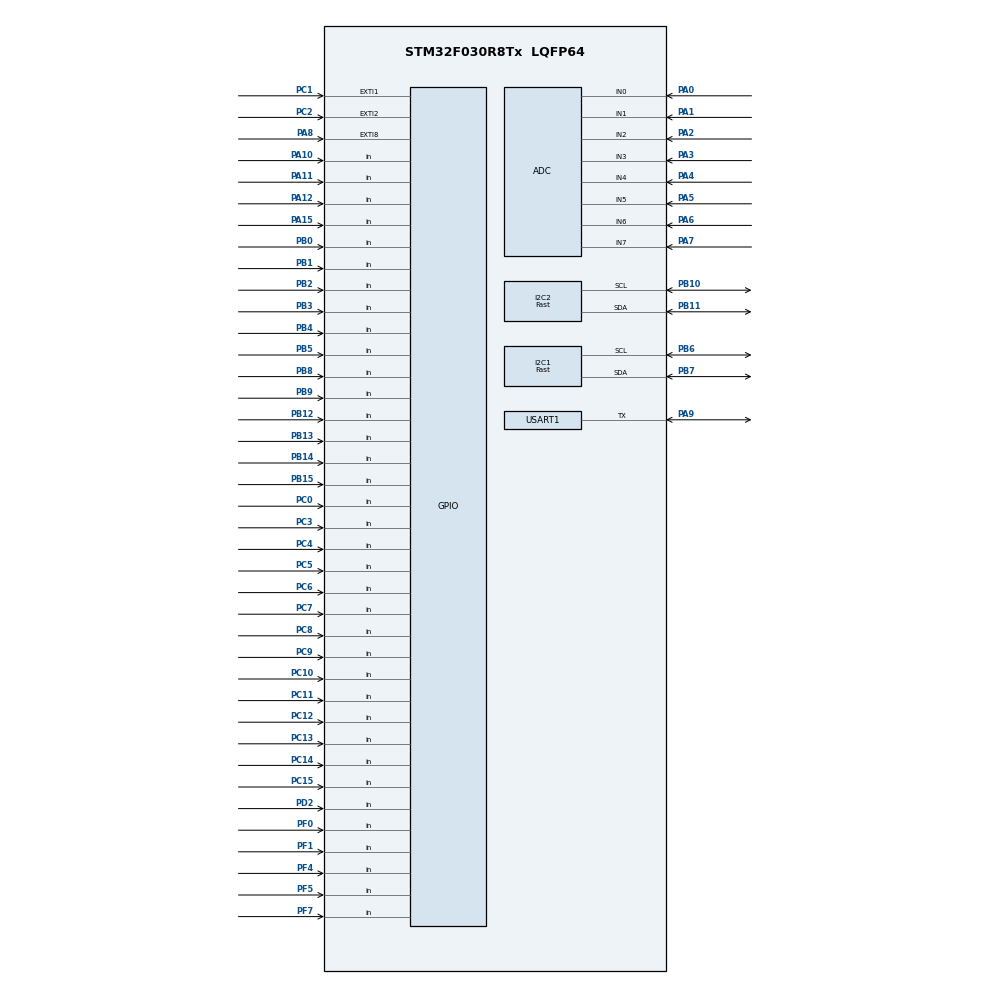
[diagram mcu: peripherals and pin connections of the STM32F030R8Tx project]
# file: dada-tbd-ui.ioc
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ADC.EOCSelection=ADC_EOC_SEQ_CONV
ADC.SamplingTime=ADC_SAMPLETIME_55CYCLES_5
Dma.ADC.0.Direction=DMA_PERIPH_TO_MEMORY
Dma.ADC.0.Instance=DMA1_Channel1
Dma.ADC.0.MemDataAlignment=DMA_MDATAALIGN_HALFWORD
Dma.ADC.0.MemInc=DMA_MINC_ENABLE
Dma.ADC.0.Mode=DMA_NORMAL
Dma.ADC.0.PeriphDataAlignment=DMA_PDATAALIGN_HALFWORD
Dma.ADC.0.PeriphInc=DMA_PINC_DISABLE
Dma.ADC.0.Priority=DMA_PRIORITY_LOW
Dma.Request0=ADC
I2C1.I2C_Speed_Mode=I2C_Fast
I2C1.Timing=0x0010020A
I2C2.I2C_Speed_Mode=I2C_Fast
I2C2.OwnAddress=0x42
I2C2.Timing=0x0010020A
Mcu.Family=STM32F0
Mcu.Name=STM32F030R8Tx
Mcu.Package=LQFP64
NVIC.DMA1_Channel1_IRQn=true\:0\:0\:false\:false\:true\:false\:true\:true
NVIC.EXTI0_1_IRQn=true\:0\:0\:false\:false\:true\:true\:true\:true
NVIC.EXTI2_3_IRQn=true\:0\:0\:false\:false\:true\:true\:true\:true
NVIC.EXTI4_15_IRQn=true\:0\:0\:false\:false\:true\:true\:true\:true
NVIC.I2C2_IRQn=true\:0\:0\:false\:false\:true\:true\:true\:true
PA0.Mode=IN0
PA0.Signal=ADC_IN0
PA1.Mode=IN1
PA1.Signal=ADC_IN1
PA10.GPIO_PuPd=GPIO_PULLUP
PA10.Signal=GPIO_Input
PA11.GPIO_PuPd=GPIO_PULLUP
PA11.Signal=GPIO_Input
PA12.GPIO_PuPd=GPIO_PULLUP
PA12.Signal=GPIO_Input
PA13.Mode=Serial_Wire
PA13.Signal=SYS_SWDIO
PA14.Mode=Serial_Wire
PA14.Signal=SYS_SWCLK
PA15.GPIO_PuPd=GPIO_PULLUP
PA15.Signal=GPIO_Input
PA2.Mode=IN2
PA2.Signal=ADC_IN2
PA3.Mode=IN3
PA3.Signal=ADC_IN3
PA4.Mode=IN4
PA4.Signal=ADC_IN4
PA5.Mode=IN5
PA5.Signal=ADC_IN5
PA6.Mode=IN6
PA6.Signal=ADC_IN6
PA7.Mode=IN7
PA7.Signal=ADC_IN7
PA8.GPIO_PuPd=GPIO_NOPULL
PA8.Signal=GPXTI8
PA9.Mode=Half_duplex(single_wire_mode)
PA9.Signal=USART1_TX
PB0.GPIO_PuPd=GPIO_PULLUP
PB0.Signal=GPIO_Input
PB1.GPIO_PuPd=GPIO_PULLUP
PB1.Signal=GPIO_Input
PB10.Mode=I2C
PB10.Signal=I2C2_SCL
PB11.Mode=I2C
PB11.Signal=I2C2_SDA
PB12.GPIO_PuPd=GPIO_PULLUP
PB12.Signal=GPIO_Input
PB13.GPIO_PuPd=GPIO_PULLUP
PB13.Signal=GPIO_Input
PB14.GPIO_PuPd=GPIO_PULLUP
PB14.Signal=GPIO_Input
PB15.GPIO_PuPd=GPIO_PULLUP
PB15.Signal=GPIO_Input
PB2.GPIO_PuPd=GPIO_PULLUP
PB2.Signal=GPIO_Input
PB3.GPIO_PuPd=GPIO_PULLUP
PB3.Signal=GPIO_Input
PB4.GPIO_PuPd=GPIO_PULLUP
PB4.Signal=GPIO_Input
PB5.GPIO_PuPd=GPIO_PULLUP
PB5.Signal=GPIO_Input
PB6.Mode=I2C
PB6.Signal=I2C1_SCL
PB7.Mode=I2C
PB7.Signal=I2C1_SDA
PB8.GPIO_PuPd=GPIO_PULLUP
PB8.Signal=GPIO_Input
PB9.GPIO_PuPd=GPIO_PULLUP
PB9.Signal=GPIO_Input
PC0.GPIO_PuPd=GPIO_PULLUP
PC0.Signal=GPIO_Input
PC1.GPIO_PuPd=GPIO_PULLUP
PC1.Signal=GPXTI1
PC10.GPIO_PuPd=GPIO_PULLUP
PC10.Signal=GPIO_Input
PC11.GPIO_PuPd=GPIO_PULLUP
PC11.Signal=GPIO_Input
PC12.GPIO_PuPd=GPIO_PULLUP
PC12.Signal=GPIO_Input
PC13.GPIO_PuPd=GPIO_PULLUP
PC13.Signal=GPIO_Input
PC14-OSC32_IN.GPIO_PuPd=GPIO_PULLUP
PC14-OSC32_IN.Signal=GPIO_Input
PC15-OSC32_OUT.GPIO_PuPd=GPIO_PULLUP
PC15-OSC32_OUT.Signal=GPIO_Input
PC2.GPIO_PuPd=GPIO_PULLUP
PC2.Signal=GPXTI2
PC3.GPIO_PuPd=GPIO_PULLUP
PC3.Signal=GPIO_Input
PC4.GPIO_PuPd=GPIO_PULLUP
PC4.Signal=GPIO_Input
PC5.GPIO_PuPd=GPIO_PULLUP
PC5.Signal=GPIO_Input
PC6.GPIO_PuPd=GPIO_PULLUP
PC6.Signal=GPIO_Input
PC7.GPIO_PuPd=GPIO_PULLUP
PC7.Signal=GPIO_Input
PC8.GPIO_PuPd=GPIO_PULLUP
PC8.Signal=GPIO_Input
PC9.GPIO_PuPd=GPIO_PULLUP
PC9.Signal=GPIO_Input
PD2.GPIO_PuPd=GPIO_PULLUP
PD2.Signal=GPIO_Input
PF0-OSC_IN.GPIO_PuPd=GPIO_PULLUP
PF0-OSC_IN.Signal=GPIO_Input
PF1-OSC_OUT.GPIO_PuPd=GPIO_PULLUP
PF1-OSC_OUT.Signal=GPIO_Input
PF4.GPIO_PuPd=GPIO_PULLUP
PF4.Signal=GPIO_Input
PF5.GPIO_PuPd=GPIO_PULLUP
PF5.Signal=GPIO_Input
PF7.GPIO_PuPd=GPIO_PULLUP
PF7.Signal=GPIO_Input
ProjectManager.HeapSize=0x200
ProjectManager.StackSize=0x400
ProjectManager.TargetToolchain=CMake
RCC.PLLMUL=RCC_PLL_MUL12
USART1.VirtualMode-Half_duplex(single_wire_mode)=VM_ASYNC
board=custom

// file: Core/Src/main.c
/* USER CODE BEGIN Header */
/**
  ******************************************************************************
  * @file           : main.c
  * @brief          : Main program body
  ******************************************************************************
  * @attention
  *
  * Copyright (c) 2024 STMicroelectronics.
  * All rights reserved.
  *
  * This software is licensed under terms that can be found in the LICENSE file
  * in the root directory of this software component.
  * If no LICENSE file comes with this software, it is provided AS-IS.
  *
  ******************************************************************************
  */
/* USER CODE END Header */
#include "main.h"
#include "adc.h"
#include "dma.h"
#include "i2c.h"
#include "usart.h"
#include "gpio.h"

/* USER CODE BEGIN Includes */
#include <string.h>
#include "endless_pot.h"
#include "lis3d.h"
#include <stdlib.h>
/* USER CODE END Includes */

/* USER CODE BEGIN PTD */
__IO uint32_t Transfer_Direction = 0;
__IO uint32_t i2c_transfer_complete = 0;
__IO uint32_t adc_dma_complete = 0;
/* USER CODE END PTD */

/* USER CODE BEGIN PV */
static ui_data_t data; // active data
static ui_data_t t_d_buffer; // transfer data buffer
static uint16_t adc_vals[8]; // adc values, dma buffer
static endless_pot_t pots[4]; // endless pots states
static uint32_t d_btn_timestamps[16]; // timestamps for buttons
static uint32_t f_btn_timestamps[6]; // timestamps for buttons
static uint32_t mcl_btn_timestamps[13]; // timestamps for buttons
/* USER CODE END PV */

void SystemClock_Config(void);

int main(void)
{

  /* MCU Configuration--------------------------------------------------------*/

  /* Reset of all peripherals, Initializes the Flash interface and the Systick. */
  HAL_Init();

  /* USER CODE BEGIN Init */
    memset(&data, 0, sizeof(ui_data_t));
    memset(&t_d_buffer, 0, sizeof(ui_data_t));
    // Allocate a buffer for reading data from the sensor.
    // Six bytes required to read XYZ data.
    uint8_t xyz_buf[6] = { 0 };

    // New instance of the lis3dh convenience object.
    lis3dh_t lis3dh;

    // lis3dh calls return this HAL status type.
    HAL_StatusTypeDef status;

  /* USER CODE END Init */

  /* Configure the system clock */
  SystemClock_Config();

  /* USER CODE BEGIN SysInit */

    // clock to 48MHz
    // Enable HSI (8 MHz internal clock)
    RCC->CR |= RCC_CR_HSION;
    while (!(RCC->CR & RCC_CR_HSIRDY)); // Wait for HSI to be ready

    // Configure Flash latency
    FLASH->ACR |= FLASH_ACR_LATENCY; // 1 wait state for 48 MHz

    // Configure PLL
    RCC->CFGR &= ~RCC_CFGR_PLLSRC; // Select HSI/2 as PLL source
    RCC->CFGR &= ~RCC_CFGR_PLLMUL; // Clear PLL multiplier bits
    RCC->CFGR |= RCC_CFGR_PLLMUL12; // Set PLL multiplier to 12

    RCC->CR |= RCC_CR_PLLON; // Enable PLL
    while (!(RCC->CR & RCC_CR_PLLRDY)); // Wait for PLL to stabilize

    // Select PLL as system clock
    RCC->CFGR |= RCC_CFGR_SW_PLL; // Select PLL as SYSCLK source
    while ((RCC->CFGR & RCC_CFGR_SWS) != RCC_CFGR_SWS_PLL); // Wait for switch

  /* USER CODE END SysInit */

  /* Initialize all configured peripherals */
  MX_GPIO_Init();
  MX_DMA_Init();
  MX_ADC_Init();
  MX_I2C2_Init();
  MX_USART1_UART_Init();
  MX_I2C1_Init();
  /* USER CODE BEGIN 2 */
    //HAL_TIM_Encoder_Start_IT(&htim1, TIM_CHANNEL_ALL);
    //HAL_TIM_Encoder_Start(&htim1, TIM_CHANNEL_ALL);
    if (HAL_I2C_EnableListen_IT(&hi2c2) != HAL_OK){
        /* Transfer error in reception process */
        Error_Handler();
    }

    // 3d sensor
    status = lis3dh_init(&lis3dh, &hi2c1, xyz_buf, 6);

    if (status != HAL_OK) {
        // Unable to communicate with device!
    }
  /* USER CODE END 2 */

  /* Infinite loop */
  /* USER CODE BEGIN WHILE */
    // data fields
    uint32_t ticks_counter = 0;
    uint32_t encoder_old_count = 0;
    uint32_t encoder_old_count_2 = 0;
    uint8_t encoder_pre_state = 0;
    uint32_t encoder_button_timestamp = 0;
    for (int i=0;i<4;i++){
        endless_pot_init(&pots[i]);
    }
    HAL_Delay(10);
    // restart adc dma
    HAL_ADC_Start_DMA(&hadc, (uint32_t*) adc_vals, 8);
    while (1){
        // get ports A, B, C, and F
        uint16_t port_a_din = GPIOA->IDR;
        uint16_t port_b_din = GPIOB->IDR;
        uint16_t port_c_din = GPIOC->IDR;
        uint16_t port_f_din = GPIOF->IDR;

        // data button 0-15 mapping is (PC14, PB9, PB5, PB4, PC9, PB14, PB15, PC6, PC15, PC13, PB8, PC12, PC11, PC10, PA15, PF7)
        data.d_btns = 0;
        data.d_btns |= (port_c_din & (1 << 14)) ? 0x0001 : 0; // PC14 -> bit 0
        data.d_btns |= (port_b_din & (1 << 9))  ? 0x0002 : 0; // PB9  -> bit 1
        data.d_btns |= (port_b_din & (1 << 5))  ? 0x0004 : 0; // PB5  -> bit 2
        data.d_btns |= (port_b_din & (1 << 4))  ? 0x0008 : 0; // PB4  -> bit 3
        data.d_btns |= (port_c_din & (1 << 9))  ? 0x0010 : 0; // PC9  -> bit 4
        data.d_btns |= (port_b_din & (1 << 14)) ? 0x0020 : 0; // PB14 -> bit 5
        data.d_btns |= (port_b_din & (1 << 15)) ? 0x0040 : 0; // PB15 -> bit 6
        data.d_btns |= (port_c_din & (1 << 6))  ? 0x0080 : 0; // PC6  -> bit 7
        data.d_btns |= (port_c_din & (1 << 15)) ? 0x0100 : 0; // PC15 -> bit 8
        data.d_btns |= (port_c_din & (1 << 13)) ? 0x0200 : 0; // PC13 -> bit 9
        data.d_btns |= (port_b_din & (1 << 8))  ? 0x0400 : 0; // PB8  -> bit 10
        data.d_btns |= (port_c_din & (1 << 12)) ? 0x0800 : 0; // PC12 -> bit 11
        data.d_btns |= (port_c_din & (1 << 11)) ? 0x1000 : 0; // PC11 -> bit 12
        data.d_btns |= (port_c_din & (1 << 10)) ? 0x2000 : 0; // PC10 -> bit 13
        data.d_btns |= (port_a_din & (1 << 15)) ? 0x4000 : 0; // PA15 -> bit 14
        data.d_btns |= (port_f_din & (1 << 7))  ? 0x8000 : 0; // PF7  -> bit 15
        // invert the buttons
        data.d_btns = ~data.d_btns;

        // check if data buttons are long pressed
        for (int i=0;i<16;i++){
            if (data.d_btns & (1 << i)){
                if (d_btn_timestamps[i] == 0){
                    d_btn_timestamps[i] = HAL_GetTick();
                }
                else if (HAL_GetTick() - d_btn_timestamps[i] > BTN_LONG_PRESS){
                    data.d_btns_long_press |= (1 << i);
                }
            }
            else{
                d_btn_timestamps[i] = 0;
                data.d_btns_long_press &= ~(1 << i);
            }
        }

        // function buttons are (0: F1 PC5, 1: F2 PB0, 2: POT1 (left) PC3, 3: POT2 PF4, 4: POT3 PF5, 5: POT4 (right) PC4)
        data.f_btns = 0;
        data.f_btns |= (port_c_din & (1 << 5)) ? 0x01 : 0; // PC5
        data.f_btns |= (port_b_din & (1 << 0)) ? 0x02 : 0; // PB0
        data.f_btns |= (port_c_din & (1 << 3)) ? 0x20 : 0; // PC3
        data.f_btns |= (port_f_din & (1 << 4)) ? 0x10 : 0; // PF4
        data.f_btns |= (port_f_din & (1 << 5)) ? 0x08 : 0; // PF5
        data.f_btns |= (port_c_din & (1 << 4)) ? 0x04 : 0; // PC4
        data.f_btns = ~data.f_btns;
        data.f_btns = data.f_btns & 0x3F; // only 6 bits

        // check if function buttons are long pressed
        for (int i=0;i<6;i++){
            if (data.f_btns & (1 << i)){
                if (f_btn_timestamps[i] == 0){
                    f_btn_timestamps[i] = HAL_GetTick();
                }
                else if (HAL_GetTick() - f_btn_timestamps[i] > BTN_LONG_PRESS){
                    data.f_btns_long_press |= (1 << i);
                }
            }
            else{
                f_btn_timestamps[i] = 0;
                data.f_btns_long_press &= ~(1 << i);
            }
        }

        // mcl buttons are (0: MCL_LEFT PF0, 1: MCL_DOWN PF1, 2: MCL_RIGHT PC0, 3: MCL_UP PB3, 4: MCL_A PA11, 5: MCL_B PA10, 6: MCL_X PC8, 7: MCL_Y PC7, 8: MCL_P PB13, 9: MCL_R PB12, 10: MCL_S1 PB1, 11: MCL_S2 PB2)
        data.mcl_btns = 0;
        data.mcl_btns |= (port_f_din & (1 << 0)) ? 0x001 : 0; // PF0  -> bit 0 (MCL_LEFT)
        data.mcl_btns |= (port_f_din & (1 << 1)) ? 0x002 : 0; // PF1  -> bit 1 (MCL_DOWN)
        data.mcl_btns |= (port_c_din & (1 << 0)) ? 0x004 : 0; // PC0  -> bit 2 (MCL_RIGHT)
        data.mcl_btns |= (port_b_din & (1 << 3)) ? 0x008 : 0; // PB3  -> bit 3 (MCL_UP)
        data.mcl_btns |= (port_a_din & (1 << 11)) ? 0x010 : 0; // PA11 -> bit 4 (MCL_A)
        data.mcl_btns |= (port_a_din & (1 << 10)) ? 0x020 : 0; // PA10 -> bit 5 (MCL_B)
        data.mcl_btns |= (port_c_din & (1 << 8)) ? 0x040 : 0; // PC8  -> bit 6 (MCL_X)
        data.mcl_btns |= (port_c_din & (1 << 7)) ? 0x080 : 0; // PC7  -> bit 7 (MCL_Y)
        data.mcl_btns |= (port_b_din & (1 << 13)) ? 0x100 : 0; // PB13 -> bit 8 (MCL_P)
        data.mcl_btns |= (port_b_din & (1 << 12)) ? 0x200 : 0; // PB12 -> bit 9 (MCL_R)
        data.mcl_btns |= (port_b_din & (1 << 1)) ? 0x400 : 0; // PB1  -> bit 10 (MCL_S1)
        data.mcl_btns |= (port_b_din & (1 << 2)) ? 0x800 : 0; // PB2  -> bit 11 (MCL_S2)
        data.mcl_btns = ~data.mcl_btns;
        data.mcl_btns = data.mcl_btns & 0x0FFF; // only 12 bits

        for (int i=0;i<12;i++){
            if (data.mcl_btns & (1 << i)){
                if (mcl_btn_timestamps[i] == 0){
                    mcl_btn_timestamps[i] = HAL_GetTick();
                }
                else if (HAL_GetTick() - mcl_btn_timestamps[i] > BTN_LONG_PRESS){
                    data.mcl_btns_long_press |= (1 << i);
                }
            }
            else{
                mcl_btn_timestamps[i] = 0;
                data.mcl_btns_long_press &= ~(1 << i);
            }
        }

        /*
        // encoder positions
        data.encoder_counter = __HAL_TIM_GET_COUNTER(&htim1);
        data.encoder_counter >>= 1;
        data.encoder_absolute_pos = data.encoder_counter % ENCODER_WHOLE_ROTATION;
        // get velocity every 100ms
        uint32_t ticks = HAL_GetTick();
        if (ticks - ticks_counter >= 100){
            data.encoder_speed = data.encoder_counter > encoder_old_count
                             ? data.encoder_counter - encoder_old_count
                             : encoder_old_count - data.encoder_counter;
            encoder_old_count = data.encoder_counter;
            ticks_counter = ticks;
        }

        // encoder button is PC13, assign to btns bit 0
        data.encoder_state = (port_c_din & 0x2000) >> 13;
        data.encoder_state = ~data.encoder_state;
        data.encoder_state = data.encoder_state & 0x01;
        if (data.encoder_state == 1 && !(encoder_pre_state & 0x01)){
            encoder_button_timestamp = HAL_GetTick();
        }
        if (data.encoder_state == 1 && (HAL_GetTick() - encoder_button_timestamp) > BTN_LONG_PRESS){
            data.encoder_state |= 0x02;
        }
        // rotating forward or backward, slow, med or fast?
        if (data.encoder_counter > encoder_old_count_2){
            // forward
            data.encoder_state |= 0x04;
        }
        else if (data.encoder_counter < encoder_old_count_2){
            // backward
            data.encoder_state |= 0x08;
        }
        encoder_old_count_2 = data.encoder_counter;
        if (data.encoder_speed > 20){
            // fast spinning
            data.encoder_state |= 0x20;
        }
        else if (data.encoder_speed > 10){
            // medium spinning
            data.encoder_state |= 0x10;
        }
        encoder_pre_state = data.encoder_state;
        */

        // wait for adc
        while (adc_dma_complete != 1);
        //memcpy(data.pot_adc_values, adc_vals, sizeof(adc_vals));
        // swap readings as in rev.c pins have been swapped
        for (int i=0, j=7; i<8; i++, j--){
            data.pot_adc_values[i] = adc_vals[j];
        }
        for (int i=0;i<4;i++){
            endless_pot_update(&pots[i], data.pot_adc_values[i*2], data.pot_adc_values[i*2 + 1]);
            data.pot_positions[i] = pots[i].angle >> (16 - ENDLESS_POT_RESOLUTION);
            if (i == 3) data.pot_positions[i] = 1023 - data.pot_positions[i]; // all except last inverted
            data.pot_states[i] = pots[i].state;
            if (i == 3){
                // swap first and second bit of pot state as movement inverted
                data.pot_states[i] = (data.pot_states[i] & 0xFFFFFFFC) | ((data.pot_states[i] & 0x02) >> 1) | ((data.pot_states[i] & 0x01) << 1);
            }
        }

        // read accelerometer
        if (lis3dh_xyz_available(&lis3dh)) {
            status = lis3dh_get_xyz(&lis3dh);
            // You now have raw acceleration of gravity in lis3dh->x, y, and z.
            if (status != HAL_OK){
                data.accelerometer[0] = 0;
                data.accelerometer[1] = 0;
                data.accelerometer[2] = 0;
            }else{
                data.accelerometer[0] = lis3dh.x & 0xFFFF;
                data.accelerometer[1] = lis3dh.y & 0xFFFF;
                data.accelerometer[2] = lis3dh.z & 0xFFFF;
            }
        }

        // wait for last i2c transfer request from rp2040 to complete
        while (i2c_transfer_complete != 1);
        i2c_transfer_complete = 0;

        // get systicks as timestamp for package
        data.systicks = HAL_GetTick();

        // grab data for transfer
        memcpy(&t_d_buffer, &data, sizeof(ui_data_t));
        HAL_ADC_Start_DMA(&hadc, (uint32_t*)adc_vals, 8);

        // start listening for i2c transfer

        if (HAL_I2C_EnableListen_IT(&hi2c2) != HAL_OK){
            /* Transfer error in reception process */
            Error_Handler();
        }

        //
    /* USER CODE END WHILE */

    }
}

void SystemClock_Config(void)
{
  RCC_OscInitTypeDef RCC_OscInitStruct = {0};
  RCC_ClkInitTypeDef RCC_ClkInitStruct = {0};
  RCC_PeriphCLKInitTypeDef PeriphClkInit = {0};

  /** Initializes the RCC Oscillators according to the specified parameters
  * in the RCC_OscInitTypeDef structure.
  */
  RCC_OscInitStruct.OscillatorType = RCC_OSCILLATORTYPE_HSI|RCC_OSCILLATORTYPE_HSI14;
  RCC_OscInitStruct.HSIState = RCC_HSI_ON;
  RCC_OscInitStruct.HSI14State = RCC_HSI14_ON;
  RCC_OscInitStruct.HSICalibrationValue = RCC_HSICALIBRATION_DEFAULT;
  RCC_OscInitStruct.HSI14CalibrationValue = 16;
  RCC_OscInitStruct.PLL.PLLState = RCC_PLL_NONE;
  if (HAL_RCC_OscConfig(&RCC_OscInitStruct) != HAL_OK)
  {
    Error_Handler();
  }

  /** Initializes the CPU, AHB and APB buses clocks
  */
  RCC_ClkInitStruct.ClockType = RCC_CLOCKTYPE_HCLK|RCC_CLOCKTYPE_SYSCLK
                              |RCC_CLOCKTYPE_PCLK1;
  RCC_ClkInitStruct.SYSCLKSource = RCC_SYSCLKSOURCE_HSI;
  RCC_ClkInitStruct.AHBCLKDivider = RCC_SYSCLK_DIV1;
  RCC_ClkInitStruct.APB1CLKDivider = RCC_HCLK_DIV1;

  if (HAL_RCC_ClockConfig(&RCC_ClkInitStruct, FLASH_LATENCY_0) != HAL_OK)
  {
    Error_Handler();
  }
  PeriphClkInit.PeriphClockSelection = RCC_PERIPHCLK_USART1|RCC_PERIPHCLK_I2C1;
  PeriphClkInit.Usart1ClockSelection = RCC_USART1CLKSOURCE_PCLK1;
  PeriphClkInit.I2c1ClockSelection = RCC_I2C1CLKSOURCE_HSI;
  if (HAL_RCCEx_PeriphCLKConfig(&PeriphClkInit) != HAL_OK)
  {
    Error_Handler();
  }
}

/* USER CODE BEGIN 4 */

void HAL_ADC_ConvCpltCallback(ADC_HandleTypeDef* hadc){
    adc_dma_complete = 1;
}

/**
  * @brief  Tx Transfer completed callback.
  *   I2cHandle: I2C handle.
  * @note   This example shows a simple way to report end of IT Tx transfer, and
  *         you can add your own implementation.
  * @retval None
  */

void HAL_I2C_SlaveTxCpltCallback(I2C_HandleTypeDef* I2cHandle){
    i2c_transfer_complete = 1;
}

/**
  * @brief  Rx Transfer completed callback.
  *   I2cHandle: I2C handle
  * @note   This example shows a simple way to report end of IT Rx transfer, and
  *         you can add your own implementation.
  * @retval None
  */
void HAL_I2C_SlaveRxCpltCallback(I2C_HandleTypeDef* I2cHandle){
    i2c_transfer_complete = 1;
    // nothing to rx here
}

/**
  * @brief  Slave Address Match callback.
  *   hi2c Pointer to a I2C_HandleTypeDef structure that contains
  *                the configuration information for the specified I2C.
  *   TransferDirection: Master request Transfer Direction (Write/Read), value of @ref I2C_XferOptions_definition
  *   AddrMatchCode: Address Match Code
  * @retval None
ui  */
void HAL_I2C_AddrCallback(I2C_HandleTypeDef* hi2c, uint8_t TransferDirection, uint16_t AddrMatchCode){
    Transfer_Direction = TransferDirection;
    if (Transfer_Direction != 0){
        /*##- Start the transmission process #####################################*/
        /* While the I2C in reception process, user can transmit data through
           "aTxBuffer" buffer */
        if (HAL_I2C_Slave_Seq_Transmit_IT(&hi2c2, (uint8_t*)&t_d_buffer, sizeof(ui_data_t), I2C_FIRST_AND_LAST_FRAME) !=
            HAL_OK){
            /* Transfer error in transmission process */
            Error_Handler();
        }
    }
    /*
     // nothing to rx here
    else{
        if (HAL_I2C_Slave_Seq_Receive_IT(&hi2c1, (uint8_t*)aRxBuffer, RXBUFFERSIZE, I2C_FIRST_AND_LAST_FRAME) !=
            HAL_OK){
            Error_Handler();
        }
    }
    */
}

/**
  * @brief  Listen Complete callback.
  *   hi2c Pointer to a I2C_HandleTypeDef structure that contains
  *                the configuration information for the specified I2C.
  * @retval None
  */
void HAL_I2C_ListenCpltCallback(I2C_HandleTypeDef* hi2c){
}

/**
  * @brief  I2C error callbacks.
  *   I2cHandle: I2C handle
  * @note   This example shows a simple way to report transfer error, and you can
  *         add your own implementation.
  * @retval None
  */
void HAL_I2C_ErrorCallback(I2C_HandleTypeDef* I2cHandle){
    /** Error_Handler() function is called when error occurs.
      * 1- When Slave doesn't acknowledge its address, Master restarts communication.
      * 2- When Master doesn't acknowledge the last data transferred, Slave doesn't care in this example.
      */
    if (HAL_I2C_GetError(I2cHandle) != HAL_I2C_ERROR_AF){
        Error_Handler();
    }
}

/* USER CODE END 4 */

void Error_Handler(void)
{
    __disable_irq();
    while (1){
    }
}
